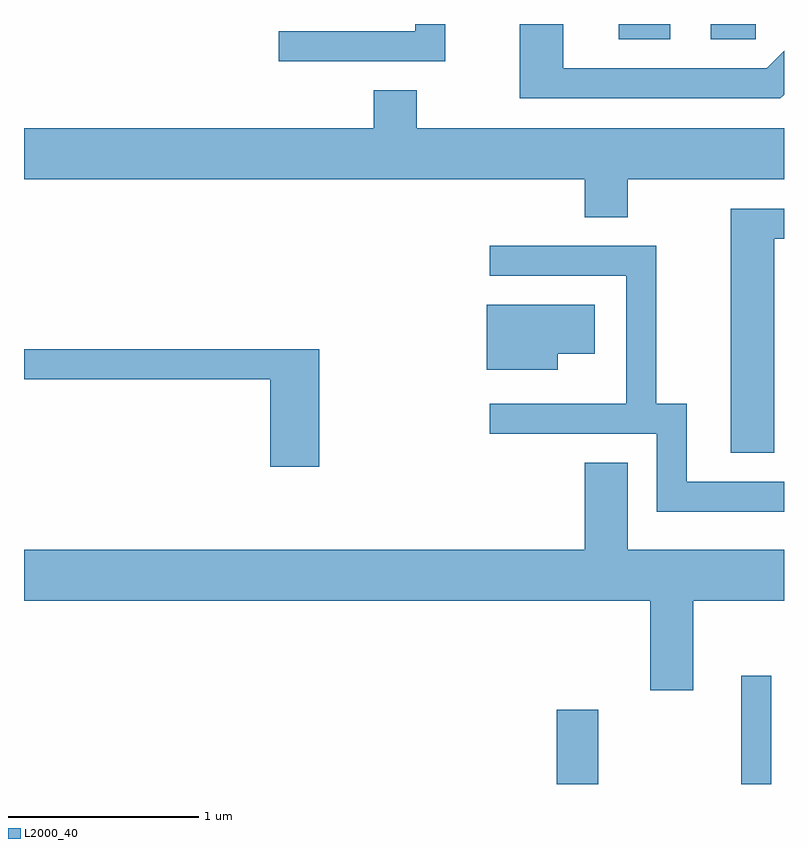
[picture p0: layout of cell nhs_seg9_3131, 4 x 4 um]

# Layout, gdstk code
import gdstk
lib = gdstk.Library(unit=1e-6, precision=1e-09)
def R(c, l, rs):  # rectangles x0, y0, x1, y1
    for r in rs: c.add(gdstk.rectangle(r[:2], r[2:], *l))
def P(c, l, *ps):  # polygons
    for p in ps: c.add(gdstk.Polygon(p, *l))
L2000_40 = (2000, 40)

nhs_seg9_3131 = lib.new_cell('nhs_seg9_3131')
R(nhs_seg9_3131, L2000_40, [(280.416,1966.432,280.634,1966.824), (281.386,1966.432,281.544,1967.003), (280.741,1970.351,281.013,1970.432), (281.226,1970.351,281.463,1970.432)])
P(nhs_seg9_3131, L2000_40, [(281.611,1970.06),(281.611,1970.291),(281.519,1970.199),(280.449,1970.199),(280.449,1970.432),(280.221,1970.432),(280.221,1970.041),(281.592,1970.041)],
  [(279.829,1970.432),(279.671,1970.432),(279.671,1970.394),(278.953,1970.394),(278.953,1970.236),(279.829,1970.236)],
  [(280.789,1969.616),(281.611,1969.616),(281.611,1969.884),(279.679,1969.884),(279.679,1970.084),(279.451,1970.084),(279.451,1969.884),(277.611,1969.884),(277.611,1969.616),(280.561,1969.616),(280.561,1969.416),(280.789,1969.416)],
  [(281.559,1969.301),(281.611,1969.301),(281.611,1969.459),(281.331,1969.459),(281.331,1968.176),(281.559,1968.176)],
  [(281.611,1968.024),(281.099,1968.024),(281.099,1968.434),(280.939,1968.434),(280.939,1969.264),(280.063,1969.264),(280.063,1969.106),(280.781,1969.106),(280.781,1968.434),(280.063,1968.434),(280.063,1968.276),(280.941,1968.276),(280.941,1967.866),(281.611,1967.866)],
  [(280.419,1968.696),(280.614,1968.696),(280.614,1968.954),(280.046,1968.954),(280.046,1968.611),(280.419,1968.611)],
  [(279.164,1968.719),(277.611,1968.719),(277.611,1968.561),(278.906,1968.561),(278.906,1968.101),(279.164,1968.101)],
  [(281.134,1967.396),(281.611,1967.396),(281.611,1967.664),(280.789,1967.664),(280.789,1968.124),(280.561,1968.124),(280.561,1967.664),(277.611,1967.664),(277.611,1967.396),(280.906,1967.396),(280.906,1966.926),(281.134,1966.926)])

lib.write_gds('nhs_seg9_3131.gds')
